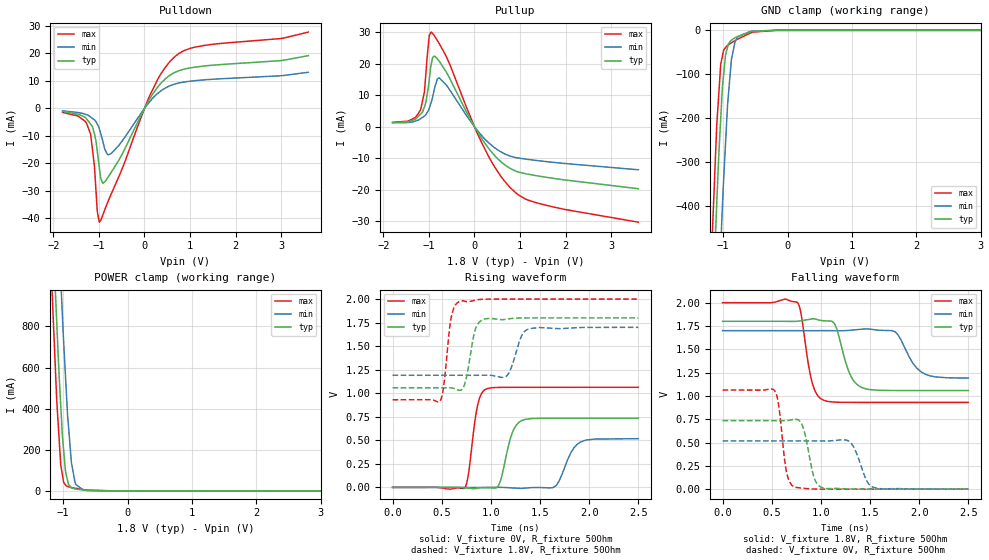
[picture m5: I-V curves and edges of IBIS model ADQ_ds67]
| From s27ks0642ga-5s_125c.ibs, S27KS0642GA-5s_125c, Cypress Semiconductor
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[Model]   ADQ_ds67
Model_type   I/O
Polarity   Non-Inverting
Enable   Active-High
Vinl = 0.54
Vinh = 1.26
Vmeas = 0.9
Vref = 0.9
Cref = 15pF
|   typ   min   max
C_comp   1.03pF   1.01pF   1.05pF
[Voltage Range]   1.8   1.7   2
[Temperature Range]   25   125   -40
[Pullup Reference]   1.8   1.7   2
[Pulldown Reference]   0   0   0
[Power Clamp Reference]   1.8   1.7   2
[GND Clamp Reference]   0   0   0
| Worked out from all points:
|   slope of the pulldown table from 0 to 0.27 V, typ, clamps not added: 36.6 ohm
|   slope of the pullup table from 0 to 0.27 V, typ, clamps not added: 44.1 ohm
|   falling waveform, V_fixture 1.8V, R_fixture 50Ohm: 20-80 % time 129ps typ, 165ps min, 98.2ps max; typ from 1.8 V to 1.06 V
|   rising waveform, V_fixture 0V, R_fixture 50Ohm: 20-80 % time 104ps typ, 132ps min, 80.1ps max; typ from 0 V to 0.735 V
|   rising waveform, V_fixture 1.8V, R_fixture 50Ohm: 20-80 % time 76.2ps typ, 93ps min, 65ps max; typ from 1.06 V to 1.8 V
|   falling waveform, V_fixture 0V, R_fixture 50Ohm: 20-80 % time 85ps typ, 110ps min, 68.5ps max; typ from 0.735 V to 0 V
[Pulldown]
|   Voltage   I(typ)   I(min)   I(max)
-1.8V     -1.179mA   -916.5uA   -1.466mA
-1.31V    -3.211mA   -2.125mA   -4.615mA
-1.184V   -5.77mA    -3.156mA   -9.364mA
-1.1V     -9.285mA   -4.195mA   -20.94mA
-1.067V   -11.7mA    -4.81mA    -29.57mA
-1.038V   -15.53mA   -5.716mA   -37.34mA
-992mV    -21.58mA   -7.44mA    -41.38mA
-916.2mV  -27.23mA   -11.89mA   -38.82mA
-725.6mV  -23.14mA   -16.35mA   -30.91mA
100mV     3.077mA    2.096mA    4.075mA
670mV     13.09mA    8.849mA    18.83mA
3.6V      19.15mA    13.11mA    27.72mA
[GND Clamp]
|   Voltage   I(typ)   I(min)   I(max)
-1.8V     -3.484A    -3.81A     -3.305A
-1.184V   -723.9mA   -1.066A    -521.8mA
-1.147V   -568.1mA   -913.4mA   -386mA
-1.12V    -466.3mA   -805.1mA   -289.7mA
-1.037V   -198.4mA   -488.9mA   -76.68mA
-1.012V   -130.3mA   -401.2mA   -58.58mA
-963mV    -56.14mA   -257.6mA   -39mA
-932mV    -38.75mA   -170.9mA   -34.5mA
-871.8mV  -22.39mA   -66.59mA   -28.47mA
-815.7mV  -17.04mA   -25.96mA   -23.55mA
-540mV    -2.489mA   -1.581mA   -4.196mA
3.6V      0A         0A         0A
[Pullup]
|   Voltage   I(typ)   I(min)   I(max)
-1.8V     1.354mA    1.309mA    1.387mA
-1.46V    1.58mA     1.326mA    1.8mA
-1.184V   4.022mA    2.595mA    5.376mA
-1.1V     6.262mA    3.407mA    11.04mA
-1.066V   7.909mA    3.912mA    17.35mA
-994mV    14.98mA    5.827mA    29mA
-952mV    19.67mA    7.718mA    30.02mA
-880.2mV  22.42mA    12.05mA    28.8mA
-772.2mV  20.75mA    15.49mA    26.33mA
255.3mV   -5.74mA    -4.288mA   -7.839mA
902mV     -14.01mA   -9.73mA    -20.85mA
3.6V      -19.62mA   -13.62mA   -30.23mA
[POWER Clamp]
|   Voltage   I(typ)   I(min)   I(max)
-1.8V     6.849A     7.494A     6.488A
-1.184V   1.474A     2.174A     1.06A
-1.147V   1.167A     1.873A     784.5mA
-1.12V    963.7mA    1.659A     589.2mA
-1.1V     821.9mA    1.498A     442.5mA
-1.037V   412.6mA    1.028A     125.6mA
-1.01V    261mA      840.3mA    74.89mA
-950mV    76.23mA    477.2mA    24.41mA
-871.8mV  15.94mA    138.3mA    16.57mA
-802.1mV  9.166mA    31.03mA    12.53mA
-686.5mV  4.509mA    4.479mA    6.657mA
3.6V      0A         0A         0A
[Ramp]
R_load = 50
|   typ   min   max
dV/dt_r 4.4096E-01/1.0396E-10   3.1041E-01/1.3059E-10   6.3774E-01/7.9626E-11
dV/dt_f 4.4543E-01/1.2785E-10   3.0530E-01/1.6434E-10   6.4167E-01/9.8166E-11
[Falling Waveform]
V_fixture = 1.8V
V_fixture_min = 1.7V
V_fixture_max = 2V
R_fixture = 50Ohm
C_fixture = 0F
|   Time   V(typ)   V(min)   V(max)
0s        1.8V       1.7V       2V
765ps     1.801V     1.7V       1.998V
910ps     1.826V     1.7V       1.149V
1.03ns    1.806V     1.7V       953.2mV
1.14ns    1.771V     1.699V     933.8mV
1.295ns   1.235V     1.704V     930.8mV
1.41ns    1.093V     1.715V     930.6mV
1.755ns   1.058V     1.687V     930.5mV
2.065ns   1.058V     1.231V     930.5mV
2.5ns     1.058V     1.191V     930.5mV
[Rising Waveform]
V_fixture = 0V
V_fixture_min = 0V
V_fixture_max = 0V
R_fixture = 50Ohm
C_fixture = 0F
|   Time   V(typ)   V(min)   V(max)
0s        0V         0V         0V
735ps     -5.077mV   0V         -4.098mV
865ps     -8.817mV   -4.846uV   871.4mV
955ps     -2.681mV   -3.006uV   1.046V
1.08ns    24.51mV    580uV      1.062V
1.205ns   542.2mV    -5.05mV    1.063V
1.31ns    707.8mV    -10.47mV   1.063V
1.66ns    734.6mV    15.84mV    1.063V
1.94ns    734.9mV    494.1mV    1.063V
2.5ns     734.9mV    517.3mV    1.063V
[Rising Waveform]
V_fixture = 1.8V
V_fixture_min = 1.7V
V_fixture_max = 2V
R_fixture = 50Ohm
C_fixture = 0F
|   Time   V(typ)   V(min)   V(max)
0s        1.058V     1.191V     930.5mV
485ps     1.058V     1.191V     919.5mV
525ps     1.058V     1.191V     1.114V
595ps     1.057V     1.191V     1.796V
680ps     1.03V      1.191V     1.976V
840ps     1.671V     1.191V     1.988V
910ps     1.778V     1.191V     1.998V
1.17ns    1.788V     1.194V     2V
1.39ns    1.8V       1.686V     2V
2.5ns     1.8V       1.7V       2V
[Falling Waveform]
|Gnd
V_fixture = 0V
V_fixture_min = 0V
V_fixture_max = 0V
R_fixture = 50Ohm
C_fixture = 0F
|   Time   V(typ)   V(min)   V(max)
0s        734.9mV    517.5mV    1.063V
530ps     734.9mV    517.5mV    1.056V
570ps     735mV      517.5mV    904.8mV
650ps     735.4mV    517.5mV    186.6mV
730ps     750mV      517.5mV    22.98mV
820ps     659.8mV    517.5mV    9.93mV
995ps     24.83mV    517.5mV    467.6uV
1.285ns   2.325mV    514.3mV    0V
1.535ns   60.75uV    19.18mV    -858.7nV
2.5ns     0V         2.264uV    0V
